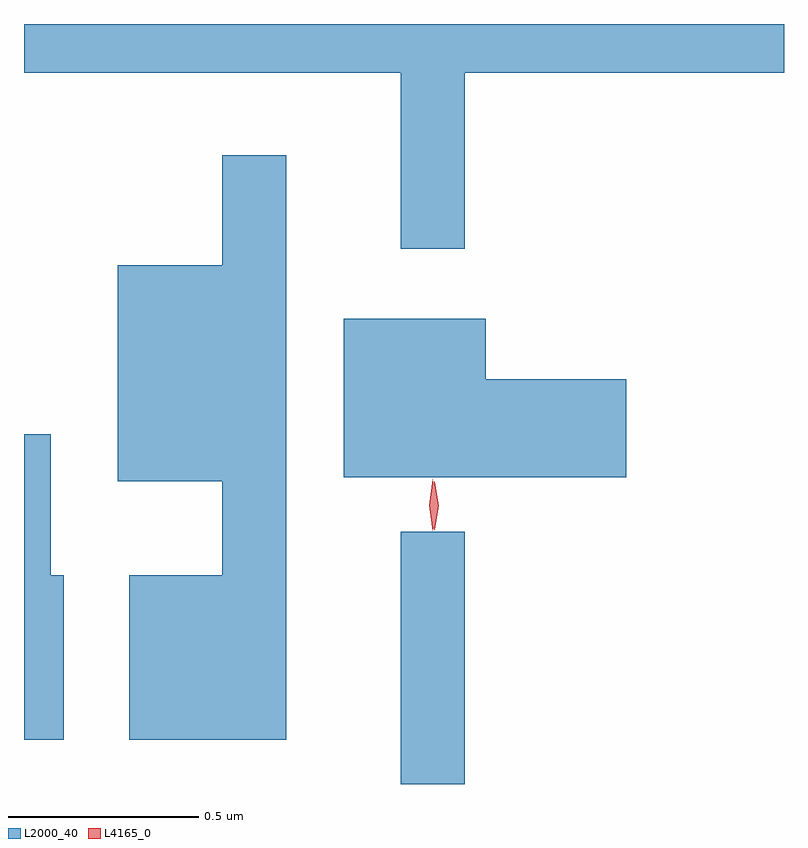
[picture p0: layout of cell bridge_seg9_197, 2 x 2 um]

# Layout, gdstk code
import gdstk
lib = gdstk.Library(unit=1e-6, precision=1e-09)
def R(c, l, rs):  # rectangles x0, y0, x1, y1
    for r in rs: c.add(gdstk.rectangle(r[:2], r[2:], *l))
def P(c, l, *ps):  # polygons
    for p in ps: c.add(gdstk.Polygon(p, *l))
L2000_40 = (2000, 40)
L4165_0 = (4165, 0)

bridge_seg9_197 = lib.new_cell('bridge_seg9_197')
R(bridge_seg9_197, L2000_40, [(1264.221,2034.344,1264.389,2035.008)])
P(bridge_seg9_197, L2000_40, [(1264.389,2036.216),(1265.229,2036.216),(1265.229,2036.344),(1263.229,2036.344),(1263.229,2036.216),(1264.221,2036.216),(1264.221,2035.753),(1264.389,2035.753)],
  [(1263.919,2035.998),(1263.751,2035.998),(1263.751,2035.709),(1263.476,2035.709),(1263.476,2035.141),(1263.751,2035.141),(1263.751,2034.894),(1263.506,2034.894),(1263.506,2034.461),(1263.919,2034.461)],
  [(1264.814,2035.409),(1264.444,2035.409),(1264.444,2035.569),(1264.071,2035.569),(1264.071,2035.151),(1264.814,2035.151)],
  [(1263.334,2034.894),(1263.299,2034.894),(1263.299,2035.264),(1263.229,2035.264),(1263.229,2034.461),(1263.334,2034.461)])
P(bridge_seg9_197, L4165_0, [(1264.304,2035.01),(1264.295,2035.078),(1264.304,2035.145),(1264.304,2035.146),(1264.305,2035.145),(1264.314,2035.078),(1264.305,2035.01),(1264.305,2035.01)],
  [(1264.309,2035.013),(1264.3,2035.076),(1264.309,2035.14),(1264.31,2035.14),(1264.31,2035.14),(1264.32,2035.076),(1264.31,2035.013),(1264.31,2035.013)])

lib.write_gds('bridge_seg9_197.gds')
